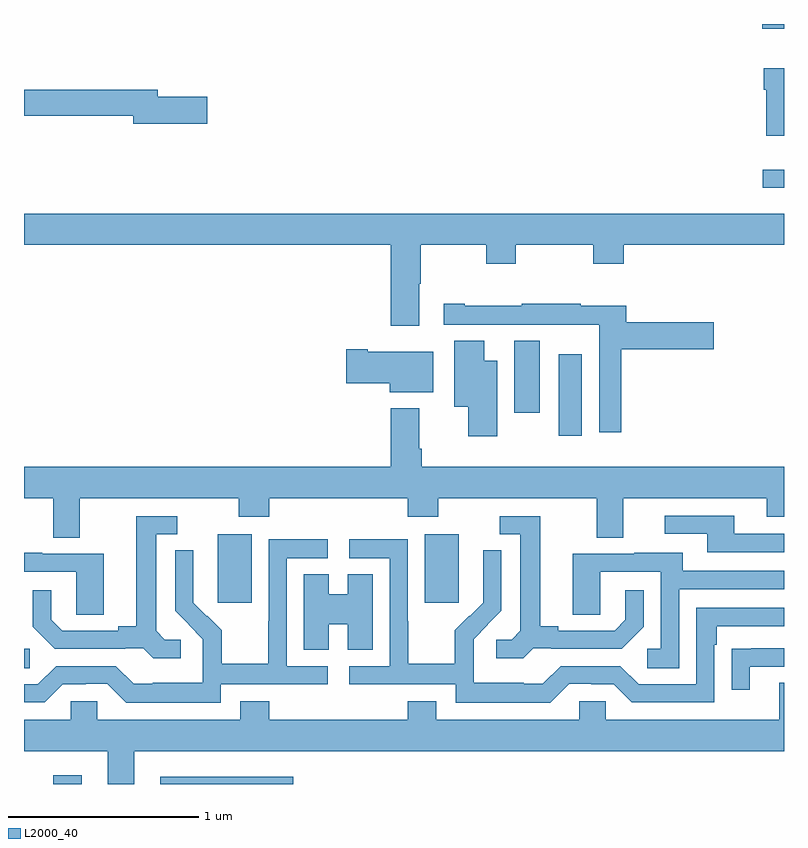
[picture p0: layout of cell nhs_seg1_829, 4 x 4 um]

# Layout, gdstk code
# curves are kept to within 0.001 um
import gdstk
lib = gdstk.Library(unit=1e-6, precision=1e-09)
def R(c, l, rs):  # rectangles x0, y0, x1, y1
    for r in rs: c.add(gdstk.rectangle(r[:2], r[2:], *l))
def P(c, l, *ps):  # polygons
    for p in ps: c.add(gdstk.Polygon(p, *l))
L2000_40 = (2000, 40)

nhs_seg1_829 = lib.new_cell('nhs_seg1_829')
R(nhs_seg1_829, L2000_40, [(155.153,578.199,155.305,578.245), (155.717,578.199,156.418,578.236), (155,578.809,155.029,578.91), (156.02,579.153,156.199,579.514), (157.109,579.153,157.288,579.514), (157.814,580.032,157.936,580.462), (157.58,580.152,157.714,580.532), (158.889,581.336,159,581.433), (158.885,582.174,159,582.199)])
P(nhs_seg1_829, L2000_40, [(159,581.965),(158.894,581.965),(158.894,581.852),(158.906,581.852),(158.906,581.612),(159,581.612)],
  [(155.965,581.816),(155.704,581.816),(155.704,581.852),(155,581.852),(155,581.716),(155.576,581.716),(155.576,581.674),(155.965,581.674)],
  [(157.081,580.832),(157.089,580.832),(157.089,581.036),(157.432,581.036),(157.432,580.937),(157.587,580.937),(157.587,581.036),(157.996,581.036),(157.996,580.937),(158.156,580.937),(158.156,581.036),(159,581.036),(159,581.2),(155,581.2),(155,581.036),(156.929,581.036),(156.929,580.611),(157.081,580.611)],
  [(158.144,580.487),(158.629,580.487),(158.629,580.629),(158.171,580.629),(158.171,580.716),(157.931,580.716),(157.931,580.726),(157.621,580.726),(157.621,580.716),(157.321,580.716),(157.321,580.726),(157.209,580.726),(157.209,580.617),(157.818,580.617),(157.818,580.616),(158.028,580.616),(158.028,580.05),(158.144,580.05)],
  [(157.492,580.426),(157.423,580.426),(157.423,580.532),(157.265,580.532),(157.265,580.184),(157.337,580.184),(157.337,580.029),(157.492,580.029)],
  [(157.153,580.474),(156.808,580.474),(156.808,580.487),(156.696,580.487),(156.696,580.309),(156.926,580.309),(156.926,580.262),(157.153,580.262)],
  [(155.293,579.704),(156.13,579.704),(156.13,579.605),(156.29,579.605),(156.29,579.704),(157.019,579.704),(157.019,579.605),(157.179,579.605),(157.179,579.704),(158.015,579.704),(158.015,579.496),(158.155,579.496),(158.155,579.704),(158.909,579.704),(158.909,579.605),(159,579.605),(159,579.868),(157.094,579.868),(157.094,579.964),(157.081,579.964),(157.081,580.177),(156.929,580.177),(156.929,579.868),(155,579.868),(155,579.704),(155.153,579.704),(155.153,579.496),(155.293,579.496)],
  [(159,579.516),(158.737,579.516),(158.737,579.612),(158.373,579.612),(158.373,579.516),(158.597,579.516),(158.597,579.42),(159,579.42)],
  [(155.824,578.958),(155.742,578.958),(155.695,579.005),(155.695,579.513),(155.806,579.513),(155.806,579.609),(155.591,579.609),(155.591,579.029),(155.495,579.029),(155.495,579.006),(155.2,579.006),(155.143,579.063),(155.143,579.22),(155.046,579.22),(155.046,579.026),(155.162,578.91),(155.534,578.91),(155.534,578.913),(155.628,578.913),(155.68,578.861),(155.824,578.861)],
  [(157.68,578.913),(157.774,578.913),(157.774,578.91),(158.146,578.91),(158.262,579.026),(158.262,579.22),(158.165,579.22),(158.165,579.063),(158.108,579.006),(157.813,579.006),(157.813,579.029),(157.717,579.029),(157.717,579.609),(157.503,579.609),(157.503,579.513),(157.613,579.513),(157.613,579.005),(157.566,578.958),(157.485,578.958),(157.485,578.861),(157.628,578.861)],
  [(157.869,578.727),(157.985,578.727),(157.985,578.724),(158.103,578.724),(158.199,578.628),(158.634,578.628),(158.634,578.933),(158.647,578.933),(158.647,579.03),(159,579.03),(159,579.126),(158.538,579.126),(158.538,578.724),(158.235,578.724),(158.139,578.82),(157.824,578.82),(157.731,578.727),(157.631,578.727),(157.631,578.731),(157.368,578.731),(157.368,578.865),(157.366,578.865),(157.366,578.962),(157.512,579.11),(157.512,579.428),(157.416,579.428),(157.416,579.274),(157.418,579.274),(157.418,579.152),(157.347,579.081),(157.344,579.084),(157.267,579.007),(157.267,578.833),(157.023,578.833),(157.023,579.056),(157.02,579.056),(157.02,579.486),(156.711,579.486),(156.711,579.387),(156.924,579.387),(156.924,578.82),(156.711,578.82),(156.711,578.724),(157.272,578.724),(157.272,578.627),(157.769,578.627)],
  [(156.036,578.724),(156.598,578.724),(156.598,578.82),(156.384,578.82),(156.384,579.387),(156.598,579.387),(156.598,579.486),(156.288,579.486),(156.288,579.056),(156.286,579.056),(156.286,578.833),(156.041,578.833),(156.041,579.007),(155.964,579.084),(155.961,579.081),(155.891,579.152),(155.892,579.428),(155.796,579.428),(155.796,579.11),(155.942,578.962),(155.942,578.865),(155.94,578.865),(155.94,578.731),(155.677,578.731),(155.677,578.727),(155.577,578.727),(155.484,578.82),(155.169,578.82),(155.073,578.724),(155,578.724),(155,578.628),(155.109,578.628),(155.205,578.724),(155.324,578.724),(155.324,578.727),(155.439,578.727),(155.539,578.627),(156.036,578.627)],
  [(155.419,579.411),(155.095,579.411),(155.095,579.415),(155,579.415),(155,579.315),(155.274,579.315),(155.274,579.091),(155.419,579.091)],
  [(158.448,579.225),(159,579.225),(159,579.321),(158.467,579.321),(158.467,579.415),(158.213,579.415),(158.213,579.411),(157.889,579.411),(157.889,579.091),(158.034,579.091),(158.034,579.315),(158.352,579.315),(158.352,578.91),(158.28,578.91),(158.28,578.809),(158.448,578.809)],
  [(156.604,579.041),(156.704,579.041),(156.704,578.905),(156.835,578.905),(156.835,579.302),(156.704,579.302),(156.704,579.199),(156.604,579.199),(156.604,579.302),(156.473,579.302),(156.473,578.905),(156.604,578.905)],
  [(158.821,578.817),(159,578.817),(159,578.913),(158.827,578.913),(158.827,578.912),(158.725,578.912),(158.725,578.694),(158.821,578.694)],
  [(155.581,578.372),(159,578.372),(159,578.731),(158.975,578.731),(158.975,578.536),(158.061,578.536),(158.061,578.634),(157.923,578.634),(157.923,578.536),(157.171,578.536),(157.171,578.635),(157.019,578.635),(157.019,578.536),(156.29,578.536),(156.29,578.635),(156.137,578.635),(156.137,578.536),(155.385,578.536),(155.385,578.634),(155.247,578.634),(155.247,578.536),(155,578.536),(155,578.372),(155.441,578.372),(155.441,578.199),(155.581,578.199)])

lib.write_gds('nhs_seg1_829.gds')
